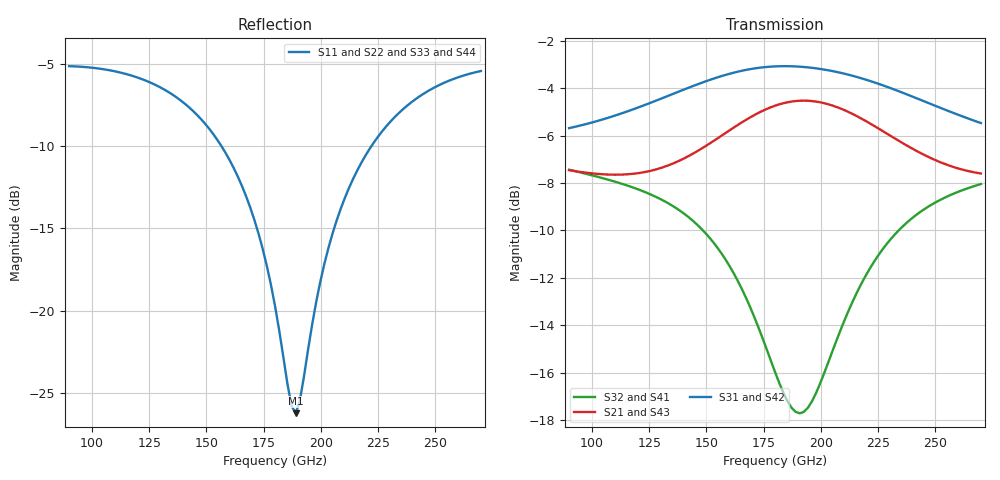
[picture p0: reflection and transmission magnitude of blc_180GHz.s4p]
#  GHZ S DB R 50
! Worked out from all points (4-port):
!   101 points, 90 GHz to 270 GHz, reference 50 ohm
!   strongest paths, dB at 90 GHz, 135 GHz, 180 GHz, 225 GHz, 270 GHz:
!     S31: -5.7, -4.3, -3.1, -3.8, -5.5
!     S42: -5.7, -4.3, -3.1, -3.8, -5.5
!     S21: -7.5, -7.2, -4.7, -5.7, -7.6
!     S43: -7.5, -7.2, -4.7, -5.7, -7.6
!     S32: -7.4, -9.0, -16.0, -11.1, -8.0
!     S41: -7.4, -9.0, -16.0, -11.1, -8.0
!   lowest |S11| = -26.3 dB at 189 GHz (marker M1), VSWR 1.10, Z = 55 - j1.08 ohm
!   |S11| at or under -10 dB: 156.7 GHz to 222.1 GHz (65.43 GHz wide, 34.6 % of centre)
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90  -5.12 157.5  -7.46 -49.0  -5.69 -79.3  -7.44 -62.0
    -7.46 -49.0  -5.12 157.6  -7.44 -61.9  -5.69 -79.3
    -5.69 -79.3  -7.44 -61.9  -5.12 157.6  -7.46 -49.0
    -7.44 -62.0  -5.69 -79.3  -7.46 -49.0  -5.12 157.5
156.6  -9.99 104.7  -6.01 -71.2  -3.49 -146.4  -10.98 -111.5
       -6.01 -71.2  -9.97 104.9  -10.97 -111.4  -3.49 -146.4
       -3.49 -146.4  -10.97 -111.4  -10.00 104.9  -6.01 -71.3
       -10.98 -111.5  -3.49 -146.4  -6.01 -71.3  -9.98 104.8
172.8  -15.31 80.8  -5.04 -83.0  -3.15 -166.6  -14.12 -118.9
       -5.04 -83.0  -15.28 81.1  -14.10 -118.7  -3.15 -166.6
       -3.15 -166.6  -14.10 -118.7  -15.33 81.1  -5.05 -83.0
       -14.12 -118.9  -3.15 -166.6  -5.05 -83.0  -15.30 80.9
189  -26.26 -11.7  -4.55 -98.2  -3.09 172.7  -17.69 -100.1
     -4.55 -98.2  -26.27 -10.6  -17.65 -100.0  -3.08 172.7
     -3.09 172.7  -17.65 -100.0  -26.36 -11.9  -4.55 -98.2
     -17.69 -100.1  -3.08 172.7  -4.55 -98.2  -26.27 -11.1
203.4  -16.17 -94.8  -4.68 -112.3  -3.25 154.5  -15.55 -75.0
       -4.68 -112.3  -16.21 -94.6  -15.53 -75.1  -3.25 154.5
       -3.25 154.5  -15.53 -75.1  -16.16 -94.9  -4.69 -112.3
       -15.55 -75.0  -3.25 154.5  -4.69 -112.3  -16.19 -94.7
217.8  -10.99 -116.5  -5.29 -124.7  -3.59 136.8  -12.24 -75.5
       -5.29 -124.7  -11.01 -116.4  -12.24 -75.5  -3.58 136.9
       -3.59 136.8  -12.24 -75.5  -10.98 -116.6  -5.29 -124.8
       -12.24 -75.5  -3.58 136.9  -5.29 -124.8  -10.99 -116.5
270  -5.41 -161.6  -7.60 -148.7  -5.47 81.7  -8.04 -115.1
     -7.60 -148.7  -5.42 -161.4  -8.05 -115.1  -5.47 81.7
     -5.47 81.7  -8.05 -115.1  -5.41 -161.5  -7.61 -148.8
     -8.04 -115.1  -5.47 81.7  -7.61 -148.8  -5.41 -161.6
